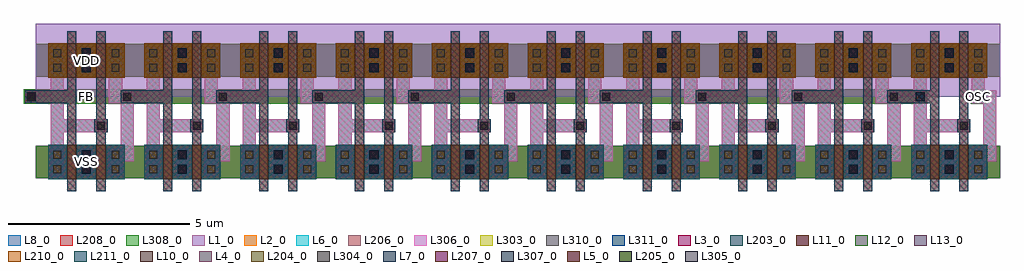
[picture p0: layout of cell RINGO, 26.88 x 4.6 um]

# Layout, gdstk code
import gdstk
lib = gdstk.Library(unit=1e-6, precision=1e-09)
def R(c, l, rs):  # rectangles x0, y0, x1, y1
    for r in rs: c.add(gdstk.rectangle(r[:2], r[2:], *l))
def A(c, l, x, y, w, h, nx, ny, dx, dy):  # array of equal rectangles
    R(c, l, [(x+i*dx, y+j*dy, x+i*dx+w, y+j*dy+h) for i in range(nx) for j in range(ny)])
def P(c, l, *ps):  # polygons
    for p in ps: c.add(gdstk.Polygon(p, *l))
L1_0 = (1, 0)
L2_0 = (2, 0)
L3_0 = (3, 0)
L4_0 = (4, 0)
L5_0 = (5, 0)
L6_0 = (6, 0)
L7_0 = (7, 0)
L8_0 = (8, 0)
L10_0 = (10, 0)
L11_0 = (11, 0)
L12_0 = (12, 0)
L13_0 = (13, 0)
L203_0 = (203, 0)
L204_0 = (204, 0)
L205_0 = (205, 0)
L206_0 = (206, 0)
L207_0 = (207, 0)
L208_0 = (208, 0)
L210_0 = (210, 0)
L211_0 = (211, 0)
L303_0 = (303, 0)
L304_0 = (304, 0)
L305_0 = (305, 0)
L306_0 = (306, 0)
L307_0 = (307, 0)
L308_0 = (308, 0)
L310_0 = (310, 0)
L311_0 = (311, 0)

net_trans__1 = lib.new_cell('NET_TRANS_$1')
R(net_trans__1, L204_0, [(-0.51,-0.31,-0.29,-0.09), (-0.51,0.09,-0.29,0.31)])
R(net_trans__1, L206_0, [(-0.58,-0.38,-0.22,0.38)])

net_trans__2 = lib.new_cell('NET_TRANS_$2')
R(net_trans__2, L204_0, [(0.29,-0.31,0.51,-0.09), (0.29,0.09,0.51,0.31)])
R(net_trans__2, L206_0, [(0.22,-0.38,0.58,0.38)])

net_trans__3 = lib.new_cell('NET_TRANS_$3')
R(net_trans__3, L203_0, [(-0.125,-0.8,0.125,0.8)])

trans = lib.new_cell('TRANS')
R(trans, L2_0, [(-0.65,-0.475,0.65,0.475)])
R(trans, L4_0, [(-0.51,-0.31,-0.29,-0.09), (0.29,-0.31,0.51,-0.09), (-0.51,0.09,-0.29,0.31), (0.29,0.09,0.51,0.31)])
R(trans, L6_0, [(-0.58,-0.38,-0.22,0.38), (0.22,-0.38,0.58,0.38)])
trans.add(gdstk.FlexPath([(0,-0.8),(0,0.8)], 0.25, ends="flush", simple_path=True, layer=3, datatype=0))  # L3_0
trans.add(gdstk.Reference(net_trans__1, (0,0)))
trans.add(gdstk.Reference(net_trans__2, (0,0)))
trans.add(gdstk.Reference(net_trans__3, (0,0)))

net_inv2_in = lib.new_cell('NET_INV2_IN')
R(net_inv2_in, L203_0, [(-0.525,-0.25,-0.275,2.25), (-1.7,1.62,-0.4,1.98)])
R(net_inv2_in, L205_0, [(-1.63,1.69,-1.41,1.91)])

net_inv2__2 = lib.new_cell('NET_INV2_$2')
R(net_inv2__2, L203_0, [(0.275,-0.25,0.525,2.25), (0.22,0.82,0.58,1.18)])
R(net_inv2__2, L205_0, [(0.29,0.89,0.51,1.11)])
R(net_inv2__2, L206_0, [(-0.98,-0.42,-0.62,2.42), (-0.8,0.82,0.58,1.18)])
R(net_inv2__2, L210_0, [(-1.05,2.325,-0.525,3.275)])
R(net_inv2__2, L211_0, [(-1.05,-0.475,-0.525,0.475)])

net_inv2_out = lib.new_cell('NET_INV2_OUT')
P(net_inv2_out, L206_0, [(0.8,0.02),(0.8,0.38),(0.94,0.38),(0.94,1.62),(0.62,1.62),(0.62,2.42),(0.98,2.42),(0.98,1.98),(1.3,1.98),(1.3,0.02)])
R(net_inv2_out, L210_0, [(0.525,2.325,1.05,3.275)])
R(net_inv2_out, L211_0, [(0.525,-0.475,1.05,0.475)])

net_inv2__4 = lib.new_cell('NET_INV2_$4')
R(net_inv2__4, L207_0, [(-0.125,-0.325,0.125,-0.075), (-0.125,0.075,0.125,0.325)])
R(net_inv2__4, L208_0, [(-1.4,-0.45,1.4,0.45)])
R(net_inv2__4, L211_0, [(-0.275,-0.475,0.275,0.475)])

net_inv2__5 = lib.new_cell('NET_INV2_$5')
R(net_inv2__5, L207_0, [(-0.125,2.475,0.125,2.725), (-0.125,2.875,0.125,3.125)])
R(net_inv2__5, L208_0, [(-1.4,2.35,1.4,3.25)])
R(net_inv2__5, L210_0, [(-0.275,2.325,0.275,3.275)])

inv2 = lib.new_cell('INV2')
R(inv2, L1_0, [(-1.4,1.8,1.4,3.8)])
R(inv2, L3_0, [(-0.525,-0.25,-0.275,2.25), (0.275,-0.25,0.525,2.25), (0.22,0.82,0.58,1.18), (-1.7,1.62,-0.4,1.98)])
R(inv2, L5_0, [(0.29,0.89,0.51,1.11), (-1.63,1.69,-1.41,1.91)])
R(inv2, L6_0, [(-0.98,-0.42,-0.62,2.42), (-0.8,0.82,0.58,1.18)])
R(inv2, L7_0, [(-0.125,-0.325,0.125,-0.075), (-0.125,0.075,0.125,0.325), (-0.125,2.475,0.125,2.725), (-0.125,2.875,0.125,3.125)])
R(inv2, L8_0, [(-1.4,-0.45,1.4,0.45), (-1.4,2.35,1.4,3.25)])
R(inv2, L10_0, [(-0.525,-0.475,-0.275,0.475), (0.275,-0.475,0.525,0.475), (-0.525,2.325,-0.275,3.275), (0.275,2.325,0.525,3.275)])
R(inv2, L11_0, [(-1.05,-0.475,-0.525,0.475), (-0.275,-0.475,0.275,0.475), (0.525,-0.475,1.05,0.475), (-1.05,2.325,-0.525,3.275), (-0.275,2.325,0.275,3.275), (0.525,2.325,1.05,3.275)])
R(inv2, L12_0, [(-1.05,2.325,-0.525,3.275), (-0.275,2.325,0.275,3.275), (0.525,2.325,1.05,3.275)])
R(inv2, L13_0, [(-1.05,-0.475,-0.525,0.475), (-0.275,-0.475,0.275,0.475), (0.525,-0.475,1.05,0.475)])
inv2.add(gdstk.FlexPath([(0.8,0.2),(1.12,0.2),(1.12,1.8),(0.8,1.8),(0.8,2.42)], 0.36, ends="flush", simple_path=True, layer=6, datatype=0))  # L6_0
inv2.add(gdstk.Reference(trans, (-0.4,0)))
inv2.add(gdstk.Reference(trans, (-0.4,2.8)))
inv2.add(gdstk.Reference(trans, (0.4,0), x_reflection=True))
inv2.add(gdstk.Reference(trans, (0.4,2.8), x_reflection=True))
inv2.add(gdstk.Reference(net_inv2_in, (0,0)))
inv2.add(gdstk.Reference(net_inv2__2, (0,0)))
inv2.add(gdstk.Reference(net_inv2_out, (0,0)))
inv2.add(gdstk.Reference(net_inv2__4, (0,0)))
inv2.add(gdstk.Reference(net_inv2__5, (0,0)))
inv2.add(gdstk.Label('IN', (-0.8,1.8), layer=3, texttype=1))
inv2.add(gdstk.Label('OUT', (0.8,1.8), layer=6, texttype=1))

rnet_inv2pair__i6 = lib.new_cell('RNET_INV2PAIR_$I6')
R(rnet_inv2pair__i6, L303_0, [(1.975,0,2.225,1.6), (1.975,0.325,2.225,1.275), (1.975,0.55,2.225,3.05), (1.92,1.62,2.28,1.98), (1.975,2.8,2.225,4.4), (1.975,3.125,2.225,4.075)])
R(rnet_inv2pair__i6, L304_0, [(0.79,0.49,1.01,0.71), (0.79,0.89,1.01,1.11), (0.79,3.29,1.01,3.51), (0.79,3.69,1.01,3.91)])
R(rnet_inv2pair__i6, L305_0, [(1.99,1.69,2.21,1.91)])
R(rnet_inv2pair__i6, L306_0, [(0.72,0.38,1.08,3.22), (0.72,0.42,1.08,1.18), (0.9,1.62,2.28,1.98), (0.72,3.22,1.08,3.98)])
R(rnet_inv2pair__i6, L310_0, [(0.65,3.125,1.175,4.075), (0.65,3.125,1.175,4.075)])
R(rnet_inv2pair__i6, L311_0, [(0.65,0.325,1.175,1.275), (0.65,0.325,1.175,1.275)])

rnet_inv2pair__i3 = lib.new_cell('RNET_INV2PAIR_$I3')
R(rnet_inv2pair__i3, L303_0, [(3.815,0,4.065,1.6), (3.815,0.325,4.065,1.275), (3.815,0.55,4.065,3.05), (2.64,2.42,3.94,2.78), (3.815,2.8,4.065,4.4), (3.815,3.125,4.065,4.075)])
R(rnet_inv2pair__i3, L304_0, [(2.39,0.49,2.61,0.71), (2.39,0.89,2.61,1.11), (2.39,3.29,2.61,3.51), (2.39,3.69,2.61,3.91)])
R(rnet_inv2pair__i3, L305_0, [(2.71,2.49,2.93,2.71)])
R(rnet_inv2pair__i3, L306_0, [(2.32,0.42,2.68,1.18), (2.32,3.22,2.68,3.98)])
P(rnet_inv2pair__i3, L306_0, [(2.5,0.82),(2.5,1.18),(2.64,1.18),(2.64,2.42),(2.32,2.42),(2.32,3.22),(2.68,3.22),(2.68,2.78),(3,2.78),(3,0.82)])
R(rnet_inv2pair__i3, L310_0, [(2.225,3.125,2.75,4.075), (2.225,3.125,2.75,4.075)])
R(rnet_inv2pair__i3, L311_0, [(2.225,0.325,2.75,1.275), (2.225,0.325,2.75,1.275)])

inv2pair = lib.new_cell('INV2PAIR')
r = gdstk.Reference(inv2, (1.7,0.8)); r.repetition = gdstk.Repetition(2, 1, v1=(2.64,0), v2=(0,0)); inv2pair.add(r)
inv2pair.add(gdstk.Reference(rnet_inv2pair__i6, (0,0)))
inv2pair.add(gdstk.Reference(rnet_inv2pair__i3, (0,0)))

net_ringo_fb = lib.new_cell('NET_RINGO_FB')
R(net_ringo_fb, L206_0, [(-1.7,1.62,-1.34,1.98)])
R(net_ringo_fb, L207_0, [(-1.645,1.675,-1.395,1.925), (22.835,1.675,23.085,1.925)])
R(net_ringo_fb, L208_0, [(-1.72,1.6,23.16,2)])

net_ringo_osc = lib.new_cell('NET_RINGO_OSC')
R(net_ringo_osc, L207_0, [(24.435,1.675,24.685,1.925)])
R(net_ringo_osc, L208_0, [(24.36,1.6,24.76,2)])

rnet_ringo_fb = lib.new_cell('RNET_RINGO_FB')
R(rnet_ringo_fb, L303_0, [(-0.525,-0.8,-0.275,0.8), (24.035,-0.8,24.285,0.8), (-0.525,-0.475,-0.275,0.475), (24.035,-0.475,24.285,0.475), (-0.525,-0.25,-0.275,2.25), (24.035,-0.25,24.285,2.25), (23.98,0.82,24.34,1.18), (-1.7,1.62,-0.4,1.98), (-0.525,2,-0.275,3.6), (24.035,2,24.285,3.6), (-0.525,2.325,-0.275,3.275), (24.035,2.325,24.285,3.275)])
R(rnet_ringo_fb, L304_0, [(22.85,-0.31,23.07,-0.09), (22.85,0.09,23.07,0.31), (22.85,2.49,23.07,2.71), (22.85,2.89,23.07,3.11)])
R(rnet_ringo_fb, L305_0, [(24.05,0.89,24.27,1.11), (-1.63,1.69,-1.41,1.91)])
R(rnet_ringo_fb, L306_0, [(22.78,-0.42,23.14,2.42), (22.78,-0.38,23.14,0.38), (22.96,0.82,24.34,1.18), (-1.7,1.62,-1.34,1.98), (22.78,2.42,23.14,3.18)])
R(rnet_ringo_fb, L307_0, [(-1.645,1.675,-1.395,1.925), (22.835,1.675,23.085,1.925)])
R(rnet_ringo_fb, L308_0, [(-1.72,1.6,23.16,2)])
R(rnet_ringo_fb, L310_0, [(22.71,2.325,23.235,3.275), (22.71,2.325,23.235,3.275)])
R(rnet_ringo_fb, L311_0, [(22.71,-0.475,23.235,0.475), (22.71,-0.475,23.235,0.475)])

rnet_ringo_osc = lib.new_cell('RNET_RINGO_OSC')
R(rnet_ringo_osc, L304_0, [(24.45,-0.31,24.67,-0.09), (24.45,0.09,24.67,0.31), (24.45,2.49,24.67,2.71), (24.45,2.89,24.67,3.11)])
R(rnet_ringo_osc, L306_0, [(24.38,-0.38,24.74,0.38), (24.38,2.42,24.74,3.18)])
P(rnet_ringo_osc, L306_0, [(24.56,0.02),(24.56,0.38),(24.7,0.38),(24.7,1.62),(24.38,1.62),(24.38,2.42),(24.74,2.42),(24.74,1.98),(25.06,1.98),(25.06,0.02)])
R(rnet_ringo_osc, L307_0, [(24.435,1.675,24.685,1.925)])
R(rnet_ringo_osc, L308_0, [(24.36,1.6,24.76,2)])
R(rnet_ringo_osc, L310_0, [(24.285,2.325,24.81,3.275), (24.285,2.325,24.81,3.275)])
R(rnet_ringo_osc, L311_0, [(24.285,-0.475,24.81,0.475), (24.285,-0.475,24.81,0.475)])

rnet_ringo_vss = lib.new_cell('RNET_RINGO_VSS')
R(rnet_ringo_vss, L304_0, [(-0.11,-0.31,0.11,-0.09), (-0.11,-0.31,0.11,-0.09), (2.53,-0.31,2.75,-0.09), (2.53,-0.31,2.75,-0.09), (5.17,-0.31,5.39,-0.09), (5.17,-0.31,5.39,-0.09), (7.81,-0.31,8.03,-0.09), (7.81,-0.31,8.03,-0.09), (10.45,-0.31,10.67,-0.09), (10.45,-0.31,10.67,-0.09), (13.09,-0.31,13.31,-0.09), (13.09,-0.31,13.31,-0.09), (15.73,-0.31,15.95,-0.09), (15.73,-0.31,15.95,-0.09), (18.37,-0.31,18.59,-0.09), (18.37,-0.31,18.59,-0.09), (21.01,-0.31,21.23,-0.09), (21.01,-0.31,21.23,-0.09), (23.65,-0.31,23.87,-0.09), (23.65,-0.31,23.87,-0.09), (-0.11,0.09,0.11,0.31), (-0.11,0.09,0.11,0.31), (2.53,0.09,2.75,0.31), (2.53,0.09,2.75,0.31), (5.17,0.09,5.39,0.31), (5.17,0.09,5.39,0.31), (7.81,0.09,8.03,0.31), (7.81,0.09,8.03,0.31), (10.45,0.09,10.67,0.31), (10.45,0.09,10.67,0.31), (13.09,0.09,13.31,0.31), (13.09,0.09,13.31,0.31), (15.73,0.09,15.95,0.31), (15.73,0.09,15.95,0.31), (18.37,0.09,18.59,0.31), (18.37,0.09,18.59,0.31), (21.01,0.09,21.23,0.31), (21.01,0.09,21.23,0.31), (23.65,0.09,23.87,0.31), (23.65,0.09,23.87,0.31)])
R(rnet_ringo_vss, L306_0, [(-0.18,-0.38,0.18,0.38), (-0.18,-0.38,0.18,0.38), (2.46,-0.38,2.82,0.38), (2.46,-0.38,2.82,0.38), (5.1,-0.38,5.46,0.38), (5.1,-0.38,5.46,0.38), (7.74,-0.38,8.1,0.38), (7.74,-0.38,8.1,0.38), (10.38,-0.38,10.74,0.38), (10.38,-0.38,10.74,0.38), (13.02,-0.38,13.38,0.38), (13.02,-0.38,13.38,0.38), (15.66,-0.38,16.02,0.38), (15.66,-0.38,16.02,0.38), (18.3,-0.38,18.66,0.38), (18.3,-0.38,18.66,0.38), (20.94,-0.38,21.3,0.38), (20.94,-0.38,21.3,0.38), (23.58,-0.38,23.94,0.38), (23.58,-0.38,23.94,0.38)])
A(rnet_ringo_vss, L307_0, -0.125, -0.325, 0.25, 0.25, 10, 2, 2.64, 0.4)
A(rnet_ringo_vss, L308_0, -1.4, -0.45, 2.8, 0.9, 10, 1, 2.64, 0)
R(rnet_ringo_vss, L311_0, [(-0.275,-0.475,0.275,0.475), (-0.275,-0.475,0.275,0.475), (-0.275,-0.475,0.275,0.475), (2.365,-0.475,2.915,0.475), (2.365,-0.475,2.915,0.475), (2.365,-0.475,2.915,0.475), (5.005,-0.475,5.555,0.475), (5.005,-0.475,5.555,0.475), (5.005,-0.475,5.555,0.475), (7.645,-0.475,8.195,0.475), (7.645,-0.475,8.195,0.475), (7.645,-0.475,8.195,0.475), (10.285,-0.475,10.835,0.475), (10.285,-0.475,10.835,0.475), (10.285,-0.475,10.835,0.475), (12.925,-0.475,13.475,0.475), (12.925,-0.475,13.475,0.475), (12.925,-0.475,13.475,0.475), (15.565,-0.475,16.115,0.475), (15.565,-0.475,16.115,0.475), (15.565,-0.475,16.115,0.475), (18.205,-0.475,18.755,0.475), (18.205,-0.475,18.755,0.475), (18.205,-0.475,18.755,0.475), (20.845,-0.475,21.395,0.475), (20.845,-0.475,21.395,0.475), (20.845,-0.475,21.395,0.475), (23.485,-0.475,24.035,0.475), (23.485,-0.475,24.035,0.475), (23.485,-0.475,24.035,0.475)])

rnet_ringo_vdd = lib.new_cell('RNET_RINGO_VDD')
R(rnet_ringo_vdd, L304_0, [(-0.11,2.49,0.11,2.71), (-0.11,2.49,0.11,2.71), (2.53,2.49,2.75,2.71), (2.53,2.49,2.75,2.71), (5.17,2.49,5.39,2.71), (5.17,2.49,5.39,2.71), (7.81,2.49,8.03,2.71), (7.81,2.49,8.03,2.71), (10.45,2.49,10.67,2.71), (10.45,2.49,10.67,2.71), (13.09,2.49,13.31,2.71), (13.09,2.49,13.31,2.71), (15.73,2.49,15.95,2.71), (15.73,2.49,15.95,2.71), (18.37,2.49,18.59,2.71), (18.37,2.49,18.59,2.71), (21.01,2.49,21.23,2.71), (21.01,2.49,21.23,2.71), (23.65,2.49,23.87,2.71), (23.65,2.49,23.87,2.71), (-0.11,2.89,0.11,3.11), (-0.11,2.89,0.11,3.11), (2.53,2.89,2.75,3.11), (2.53,2.89,2.75,3.11), (5.17,2.89,5.39,3.11), (5.17,2.89,5.39,3.11), (7.81,2.89,8.03,3.11), (7.81,2.89,8.03,3.11), (10.45,2.89,10.67,3.11), (10.45,2.89,10.67,3.11), (13.09,2.89,13.31,3.11), (13.09,2.89,13.31,3.11), (15.73,2.89,15.95,3.11), (15.73,2.89,15.95,3.11), (18.37,2.89,18.59,3.11), (18.37,2.89,18.59,3.11), (21.01,2.89,21.23,3.11), (21.01,2.89,21.23,3.11), (23.65,2.89,23.87,3.11), (23.65,2.89,23.87,3.11)])
R(rnet_ringo_vdd, L306_0, [(-0.18,2.42,0.18,3.18), (-0.18,2.42,0.18,3.18), (2.46,2.42,2.82,3.18), (2.46,2.42,2.82,3.18), (5.1,2.42,5.46,3.18), (5.1,2.42,5.46,3.18), (7.74,2.42,8.1,3.18), (7.74,2.42,8.1,3.18), (10.38,2.42,10.74,3.18), (10.38,2.42,10.74,3.18), (13.02,2.42,13.38,3.18), (13.02,2.42,13.38,3.18), (15.66,2.42,16.02,3.18), (15.66,2.42,16.02,3.18), (18.3,2.42,18.66,3.18), (18.3,2.42,18.66,3.18), (20.94,2.42,21.3,3.18), (20.94,2.42,21.3,3.18), (23.58,2.42,23.94,3.18), (23.58,2.42,23.94,3.18)])
A(rnet_ringo_vdd, L307_0, -0.125, 2.475, 0.25, 0.25, 10, 2, 2.64, 0.4)
A(rnet_ringo_vdd, L308_0, -1.4, 2.35, 2.8, 0.9, 10, 1, 2.64, 0)
R(rnet_ringo_vdd, L310_0, [(-0.275,2.325,0.275,3.275), (-0.275,2.325,0.275,3.275), (-0.275,2.325,0.275,3.275), (2.365,2.325,2.915,3.275), (2.365,2.325,2.915,3.275), (2.365,2.325,2.915,3.275), (5.005,2.325,5.555,3.275), (5.005,2.325,5.555,3.275), (5.005,2.325,5.555,3.275), (7.645,2.325,8.195,3.275), (7.645,2.325,8.195,3.275), (7.645,2.325,8.195,3.275), (10.285,2.325,10.835,3.275), (10.285,2.325,10.835,3.275), (10.285,2.325,10.835,3.275), (12.925,2.325,13.475,3.275), (12.925,2.325,13.475,3.275), (12.925,2.325,13.475,3.275), (15.565,2.325,16.115,3.275), (15.565,2.325,16.115,3.275), (15.565,2.325,16.115,3.275), (18.205,2.325,18.755,3.275), (18.205,2.325,18.755,3.275), (18.205,2.325,18.755,3.275), (20.845,2.325,21.395,3.275), (20.845,2.325,21.395,3.275), (20.845,2.325,21.395,3.275), (23.485,2.325,24.035,3.275), (23.485,2.325,24.035,3.275), (23.485,2.325,24.035,3.275)])

rnet_ringo__i21 = lib.new_cell('RNET_RINGO_$I21')
R(rnet_ringo__i21, L303_0, [(18.755,-0.8,19.005,0.8), (18.755,-0.475,19.005,0.475), (18.755,-0.25,19.005,2.25), (18.7,0.82,19.06,1.18), (18.755,2,19.005,3.6), (18.755,2.325,19.005,3.275)])
R(rnet_ringo__i21, L304_0, [(17.57,-0.31,17.79,-0.09), (17.57,0.09,17.79,0.31), (17.57,2.49,17.79,2.71), (17.57,2.89,17.79,3.11)])
R(rnet_ringo__i21, L305_0, [(18.77,0.89,18.99,1.11)])
R(rnet_ringo__i21, L306_0, [(17.5,-0.42,17.86,2.42), (17.5,-0.38,17.86,0.38), (17.68,0.82,19.06,1.18), (17.5,2.42,17.86,3.18)])
R(rnet_ringo__i21, L310_0, [(17.43,2.325,17.955,3.275), (17.43,2.325,17.955,3.275)])
R(rnet_ringo__i21, L311_0, [(17.43,-0.475,17.955,0.475), (17.43,-0.475,17.955,0.475)])

rnet_ringo__i20 = lib.new_cell('RNET_RINGO_$I20')
R(rnet_ringo__i20, L303_0, [(13.475,-0.8,13.725,0.8), (13.475,-0.475,13.725,0.475), (13.475,-0.25,13.725,2.25), (13.42,0.82,13.78,1.18), (13.475,2,13.725,3.6), (13.475,2.325,13.725,3.275)])
R(rnet_ringo__i20, L304_0, [(12.29,-0.31,12.51,-0.09), (12.29,0.09,12.51,0.31), (12.29,2.49,12.51,2.71), (12.29,2.89,12.51,3.11)])
R(rnet_ringo__i20, L305_0, [(13.49,0.89,13.71,1.11)])
R(rnet_ringo__i20, L306_0, [(12.22,-0.42,12.58,2.42), (12.22,-0.38,12.58,0.38), (12.4,0.82,13.78,1.18), (12.22,2.42,12.58,3.18)])
R(rnet_ringo__i20, L310_0, [(12.15,2.325,12.675,3.275), (12.15,2.325,12.675,3.275)])
R(rnet_ringo__i20, L311_0, [(12.15,-0.475,12.675,0.475), (12.15,-0.475,12.675,0.475)])

rnet_ringo__i19 = lib.new_cell('RNET_RINGO_$I19')
R(rnet_ringo__i19, L303_0, [(8.195,-0.8,8.445,0.8), (8.195,-0.475,8.445,0.475), (8.195,-0.25,8.445,2.25), (8.14,0.82,8.5,1.18), (8.195,2,8.445,3.6), (8.195,2.325,8.445,3.275)])
R(rnet_ringo__i19, L304_0, [(7.01,-0.31,7.23,-0.09), (7.01,0.09,7.23,0.31), (7.01,2.49,7.23,2.71), (7.01,2.89,7.23,3.11)])
R(rnet_ringo__i19, L305_0, [(8.21,0.89,8.43,1.11)])
R(rnet_ringo__i19, L306_0, [(6.94,-0.42,7.3,2.42), (6.94,-0.38,7.3,0.38), (7.12,0.82,8.5,1.18), (6.94,2.42,7.3,3.18)])
R(rnet_ringo__i19, L310_0, [(6.87,2.325,7.395,3.275), (6.87,2.325,7.395,3.275)])
R(rnet_ringo__i19, L311_0, [(6.87,-0.475,7.395,0.475), (6.87,-0.475,7.395,0.475)])

rnet_ringo__i18 = lib.new_cell('RNET_RINGO_$I18')
R(rnet_ringo__i18, L303_0, [(2.915,-0.8,3.165,0.8), (2.915,-0.475,3.165,0.475), (2.915,-0.25,3.165,2.25), (2.86,0.82,3.22,1.18), (2.915,2,3.165,3.6), (2.915,2.325,3.165,3.275)])
R(rnet_ringo__i18, L304_0, [(1.73,-0.31,1.95,-0.09), (1.73,0.09,1.95,0.31), (1.73,2.49,1.95,2.71), (1.73,2.89,1.95,3.11)])
R(rnet_ringo__i18, L305_0, [(2.93,0.89,3.15,1.11)])
R(rnet_ringo__i18, L306_0, [(1.66,-0.42,2.02,2.42), (1.66,-0.38,2.02,0.38), (1.84,0.82,3.22,1.18), (1.66,2.42,2.02,3.18)])
R(rnet_ringo__i18, L310_0, [(1.59,2.325,2.115,3.275), (1.59,2.325,2.115,3.275)])
R(rnet_ringo__i18, L311_0, [(1.59,-0.475,2.115,0.475), (1.59,-0.475,2.115,0.475)])

rnet_ringo__i17 = lib.new_cell('RNET_RINGO_$I17')
R(rnet_ringo__i17, L303_0, [(4.755,-0.8,5.005,0.8), (4.755,-0.475,5.005,0.475), (4.755,-0.25,5.005,2.25), (3.58,1.62,4.88,1.98), (4.755,2,5.005,3.6), (4.755,2.325,5.005,3.275)])
R(rnet_ringo__i17, L304_0, [(3.33,-0.31,3.55,-0.09), (3.33,0.09,3.55,0.31), (3.33,2.49,3.55,2.71), (3.33,2.89,3.55,3.11)])
R(rnet_ringo__i17, L305_0, [(3.65,1.69,3.87,1.91)])
R(rnet_ringo__i17, L306_0, [(3.26,-0.38,3.62,0.38), (3.26,2.42,3.62,3.18)])
P(rnet_ringo__i17, L306_0, [(3.44,0.02),(3.44,0.38),(3.58,0.38),(3.58,1.62),(3.26,1.62),(3.26,2.42),(3.62,2.42),(3.62,1.98),(3.94,1.98),(3.94,0.02)])
R(rnet_ringo__i17, L310_0, [(3.165,2.325,3.69,3.275), (3.165,2.325,3.69,3.275)])
R(rnet_ringo__i17, L311_0, [(3.165,-0.475,3.69,0.475), (3.165,-0.475,3.69,0.475)])

rnet_ringo__i16 = lib.new_cell('RNET_RINGO_$I16')
R(rnet_ringo__i16, L303_0, [(20.595,-0.8,20.845,0.8), (20.595,-0.475,20.845,0.475), (20.595,-0.25,20.845,2.25), (19.42,1.62,20.72,1.98), (20.595,2,20.845,3.6), (20.595,2.325,20.845,3.275)])
R(rnet_ringo__i16, L304_0, [(19.17,-0.31,19.39,-0.09), (19.17,0.09,19.39,0.31), (19.17,2.49,19.39,2.71), (19.17,2.89,19.39,3.11)])
R(rnet_ringo__i16, L305_0, [(19.49,1.69,19.71,1.91)])
R(rnet_ringo__i16, L306_0, [(19.1,-0.38,19.46,0.38), (19.1,2.42,19.46,3.18)])
P(rnet_ringo__i16, L306_0, [(19.28,0.02),(19.28,0.38),(19.42,0.38),(19.42,1.62),(19.1,1.62),(19.1,2.42),(19.46,2.42),(19.46,1.98),(19.78,1.98),(19.78,0.02)])
R(rnet_ringo__i16, L310_0, [(19.005,2.325,19.53,3.275), (19.005,2.325,19.53,3.275)])
R(rnet_ringo__i16, L311_0, [(19.005,-0.475,19.53,0.475), (19.005,-0.475,19.53,0.475)])

rnet_ringo__i15 = lib.new_cell('RNET_RINGO_$I15')
R(rnet_ringo__i15, L303_0, [(15.315,-0.8,15.565,0.8), (15.315,-0.475,15.565,0.475), (15.315,-0.25,15.565,2.25), (14.14,1.62,15.44,1.98), (15.315,2,15.565,3.6), (15.315,2.325,15.565,3.275)])
R(rnet_ringo__i15, L304_0, [(13.89,-0.31,14.11,-0.09), (13.89,0.09,14.11,0.31), (13.89,2.49,14.11,2.71), (13.89,2.89,14.11,3.11)])
R(rnet_ringo__i15, L305_0, [(14.21,1.69,14.43,1.91)])
R(rnet_ringo__i15, L306_0, [(13.82,-0.38,14.18,0.38), (13.82,2.42,14.18,3.18)])
P(rnet_ringo__i15, L306_0, [(14,0.02),(14,0.38),(14.14,0.38),(14.14,1.62),(13.82,1.62),(13.82,2.42),(14.18,2.42),(14.18,1.98),(14.5,1.98),(14.5,0.02)])
R(rnet_ringo__i15, L310_0, [(13.725,2.325,14.25,3.275), (13.725,2.325,14.25,3.275)])
R(rnet_ringo__i15, L311_0, [(13.725,-0.475,14.25,0.475), (13.725,-0.475,14.25,0.475)])

rnet_ringo__i14 = lib.new_cell('RNET_RINGO_$I14')
R(rnet_ringo__i14, L303_0, [(10.035,-0.8,10.285,0.8), (10.035,-0.475,10.285,0.475), (10.035,-0.25,10.285,2.25), (8.86,1.62,10.16,1.98), (10.035,2,10.285,3.6), (10.035,2.325,10.285,3.275)])
R(rnet_ringo__i14, L304_0, [(8.61,-0.31,8.83,-0.09), (8.61,0.09,8.83,0.31), (8.61,2.49,8.83,2.71), (8.61,2.89,8.83,3.11)])
R(rnet_ringo__i14, L305_0, [(8.93,1.69,9.15,1.91)])
R(rnet_ringo__i14, L306_0, [(8.54,-0.38,8.9,0.38), (8.54,2.42,8.9,3.18)])
P(rnet_ringo__i14, L306_0, [(8.72,0.02),(8.72,0.38),(8.86,0.38),(8.86,1.62),(8.54,1.62),(8.54,2.42),(8.9,2.42),(8.9,1.98),(9.22,1.98),(9.22,0.02)])
R(rnet_ringo__i14, L310_0, [(8.445,2.325,8.97,3.275), (8.445,2.325,8.97,3.275)])
R(rnet_ringo__i14, L311_0, [(8.445,-0.475,8.97,0.475), (8.445,-0.475,8.97,0.475)])

ringo = lib.new_cell('RINGO')
R(ringo, L6_0, [(-1.7,1.62,-1.34,1.98)])
R(ringo, L7_0, [(-1.645,1.675,-1.395,1.925), (22.835,1.675,23.085,1.925), (24.435,1.675,24.685,1.925)])
R(ringo, L8_0, [(-1.72,1.6,23.16,2), (24.36,1.6,24.76,2)])
r = gdstk.Reference(inv2pair, (-1.7,-0.8)); r.repetition = gdstk.Repetition(5, 1, v1=(5.28,0), v2=(0,0)); ringo.add(r)
ringo.add(gdstk.Reference(net_ringo_fb, (0,0)))
ringo.add(gdstk.Reference(net_ringo_osc, (0,0)))
ringo.add(gdstk.Reference(rnet_ringo_fb, (0,0)))
ringo.add(gdstk.Reference(rnet_ringo_osc, (0,0)))
ringo.add(gdstk.Reference(rnet_ringo_vss, (0,0)))
ringo.add(gdstk.Reference(rnet_ringo_vdd, (0,0)))
ringo.add(gdstk.Reference(rnet_ringo__i21, (0,0)))
ringo.add(gdstk.Reference(rnet_ringo__i20, (0,0)))
ringo.add(gdstk.Reference(rnet_ringo__i19, (0,0)))
ringo.add(gdstk.Reference(rnet_ringo__i18, (0,0)))
ringo.add(gdstk.Reference(rnet_ringo__i17, (0,0)))
ringo.add(gdstk.Reference(rnet_ringo__i16, (0,0)))
ringo.add(gdstk.Reference(rnet_ringo__i15, (0,0)))
ringo.add(gdstk.Reference(rnet_ringo__i14, (0,0)))
ringo.add(gdstk.Label('OSC', (24.56,1.8), layer=8, texttype=1))
ringo.add(gdstk.Label('FB', (0,1.8), layer=8, texttype=1))
ringo.add(gdstk.Label('VSS', (0,0), layer=8, texttype=1))
ringo.add(gdstk.Label('VDD', (0,2.8), layer=8, texttype=1))

lib.write_gds('RINGO.gds')
